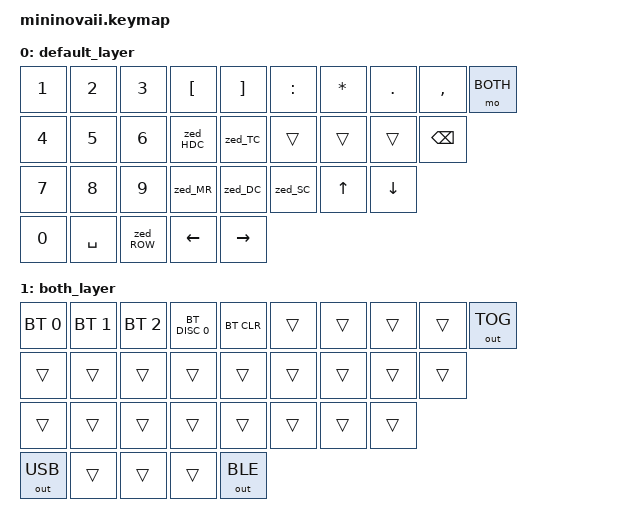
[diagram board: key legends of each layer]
/*
 * Copyright (c) 2021 The ZMK Contributors
 *
 * SPDX-License-Identifier: MIT
 */

#include <behaviors.dtsi>
#include <dt-bindings/zmk/keys.h>
#include <dt-bindings/zmk/bt.h>
#include <dt-bindings/zmk/outputs.h>

#define DEFAULT  0
#define BOTH     1

// -----------------------------------
// | TAB:TAB |    |    |    |    |   -:-  =:=  <:<   |   (< = bksp)
// | ESC:ESC |    |    |    |    |    |   #:#   |
// |    |    |    |    |    |    |    |    |
//           |    |    |         |    |    |

/ {
    macros {
        // Define a name for your macro, preceded by a 'zed_' prefix by convention
        zed_SC: zed_SC {
            compatible = "zmk,behavior-macro";
            #binding-cells = <0>;
            bindings
                = <&macro_tap &kp LS(S) &kp LS(C)>
                ;
        };
        zed_DC: zed_DC {
            compatible = "zmk,behavior-macro";
            #binding-cells = <0>;
            bindings
                = <&macro_tap &kp LS(D) &kp LS(C)>
                ;
        };
        zed_HDC: zed_HDC {
            compatible = "zmk,behavior-macro";
            #binding-cells = <0>;
            bindings
                = <&macro_tap &kp LS(H) &kp LS(D) &kp LS(C)>
                ;
        };
        zed_TC: zed_TC {
            compatible = "zmk,behavior-macro";
            #binding-cells = <0>;
            bindings
                = <&macro_tap &kp LS(T) &kp LS(C)>
                ;
        };
        zed_MR: zed_MR {
            compatible = "zmk,behavior-macro";
            #binding-cells = <0>;
            bindings
                = <&macro_tap &kp LS(M) &kp LS(R)>
                ;
        };
        zed_ROW: zed_ROW {
            compatible = "zmk,behavior-macro";
            #binding-cells = <0>;
            bindings
                = <&macro_tap &kp ENTER &kp LS(R) &kp LS(O) &kp LS(W) &kp SPACE &kp COLON>
                ;
        };
    };
};

/* {
    combos {
        compatible = "zmk,combos";

        combo_tab {
            timeout-ms = <50>;
            key-positions = <0 1>;
            bindings = <&kp TAB>;
        };

        combo_esc {
            timeout-ms = <50>;
            key-positions = <10 11>;
            bindings = <&kp ESC>;
        };

        combo_dash {
            timeout-ms = <50>;
            key-positions = <6 7>;
            bindings = <&kp MINUS>;
        };

        combo_eq {
            timeout-ms = <50>;
            key-positions = <7 8>;
            bindings = <&kp EQUAL>;
        };

        combo_bksp {
            timeout-ms = <50>;
            key-positions = <8 9>;
            bindings = <&kp BSPC>;
        };

        combo_hash {
            timeout-ms = <50>;
            key-positions = <17 18>;
            bindings = <&kp NON_US_HASH>;
        };

    };
};
*/
/ {
    keymap {
        compatible = "zmk,keymap";

        default_layer {
            bindings = <
    &kp N1      &kp N2      &kp N3     &kp LEFT_BRACKET  &kp RIGHT_BRACKET  &kp COLON &kp ASTERISK   &kp DOT     &kp COMMA     &mo BOTH
    &kp N4      &kp N5      &kp N6     &zed_HDC          &zed_TC            &trans    &trans         &trans      &kp BACKSPACE
    &kp N7      &kp N8      &kp N9     &zed_MR           &zed_DC            &zed_SC   &kp UP_ARROW   &kp DOWN_ARROW
    &kp N0      &kp SPACE   &zed_ROW   &kp LEFT_ARROW    &kp RIGHT_ARROW
            >;
        };

/*        raise_layer {
            bindings = <
    &kp TAB    &trans    &trans     &trans     &trans     &trans  &trans    &trans    &trans    &kp BSPC
    &kp ESC    &trans    &trans     &kp F5     &trans     &trans  &kp F12   &trans    &kp SEMI
    &trans     &trans    &trans     &kp PG_UP  &kp PG_DN  &trans  &trans    &kp FSLH
    &kp LCTRL  &mo BOTH  &kp HOME   &mo BOTH   &trans
            >;
        };

        lower_layer {
            bindings = <
    &kp N1          &kp N2    &kp N3   &kp N4     &kp N5     &kp N6    &kp N7    &kp N8    &kp N9    &kp N0
    &kp CAPS        &trans    &trans   &trans     &trans     &kp LEFT  &kp DOWN  &kp UP    &kp RIGHT
    &kp NON_US_BSLH &trans    &trans   &kp PG_UP  &kp PG_DN  &trans    &trans    &kp COMMA
    &kp LGUI        &mo BOTH  &kp END  &mo BOTH   &trans
            >;
        };*/

        both_layer {
            bindings = <
    &bt BT_SEL 0   &bt BT_SEL 1 &bt BT_SEL 2 &bt BT_DISC 0 &bt BT_CLR  &trans  &trans  &trans &trans &out OUT_TOG
    &trans         &trans       &trans       &trans        &trans      &trans  &trans  &trans &trans
    &trans         &trans       &trans       &trans        &trans      &trans  &trans  &trans
    &out OUT_USB   &trans       &trans       &trans        &out OUT_BLE
            >;
        };

    };
};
